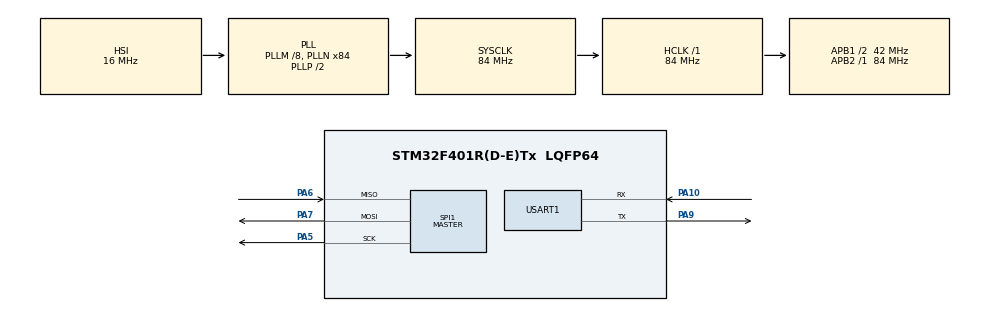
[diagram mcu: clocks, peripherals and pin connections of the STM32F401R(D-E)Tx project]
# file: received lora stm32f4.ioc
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Mcu.Family=STM32F4
Mcu.Name=STM32F401R(D-E)Tx
Mcu.Package=LQFP64
NVIC.PriorityGroup=NVIC_PRIORITYGROUP_4
PA10.Mode=Asynchronous
PA10.Signal=USART1_RX
PA5.Mode=Full_Duplex_Master
PA5.Signal=SPI1_SCK
PA6.Mode=Full_Duplex_Master
PA6.Signal=SPI1_MISO
PA7.Mode=Full_Duplex_Master
PA7.Signal=SPI1_MOSI
PA9.Mode=Asynchronous
PA9.Signal=USART1_TX
PH0\ -\ OSC_IN.Mode=HSE-External-Oscillator
PH0\ -\ OSC_IN.Signal=RCC_OSC_IN
PH1\ -\ OSC_OUT.Mode=HSE-External-Oscillator
PH1\ -\ OSC_OUT.Signal=RCC_OSC_OUT
ProjectManager.HeapSize=0x200
ProjectManager.StackSize=0x400
ProjectManager.TargetToolchain=STM32CubeIDE
RCC.48MHZClocksFreq_Value=42000000
RCC.AHBFreq_Value=84000000
RCC.APB1CLKDivider=RCC_HCLK_DIV2
RCC.APB1Freq_Value=42000000
RCC.APB1TimFreq_Value=84000000
RCC.APB2Freq_Value=84000000
RCC.APB2TimFreq_Value=84000000
RCC.CortexFreq_Value=84000000
RCC.HCLKFreq_Value=84000000
RCC.HSE_VALUE=25000000
RCC.HSI_VALUE=16000000
RCC.LSE_VALUE=32768
RCC.PLLM=8
RCC.PLLN=84
RCC.SYSCLKFreq_VALUE=84000000
RCC.SYSCLKSource=RCC_SYSCLKSOURCE_PLLCLK
RCC.VCOOutputFreq_Value=168000000
SPI1.Direction=SPI_DIRECTION_2LINES
SPI1.Mode=SPI_MODE_MASTER
SPI1.VirtualType=VM_MASTER
USART1.VirtualMode=VM_ASYNC
board=custom

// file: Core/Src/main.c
/* USER CODE BEGIN Header */
/**
  ******************************************************************************
  * @file           : main.c
  * @brief          : Main program body
  ******************************************************************************
  * @attention
  *
  * Copyright (c) 2024 STMicroelectronics.
  * All rights reserved.
  *
  * This software is licensed under terms that can be found in the LICENSE file
  * in the root directory of this software component.
  * If no LICENSE file comes with this software, it is provided AS-IS.
  *
  ******************************************************************************
  */
/* USER CODE END Header */
#include "main.h"

/* USER CODE BEGIN Includes */
#include <stdio.h>
#include "sx1278.hpp"
#include "gpio.h"
#include "spi.h"

/* USER CODE END Includes */

SPI_HandleTypeDef hspi1;

UART_HandleTypeDef huart1;

void SystemClock_Config(void);
static void MX_GPIO_Init(void);
static void MX_SPI1_Init(void);
static void MX_USART1_UART_Init(void);
/* USER CODE BEGIN PFP */
#define PUTCHAR_PROTOTYPE int __io_putchar(int ch)
/* USER CODE END PFP */

/* USER CODE BEGIN 0 */
SX1278_hw_t SX1278_hw;
SX1278_t SX1278;

int master;
int ret;

char buffer[512];

int message;
int message_length;
/* USER CODE END 0 */

int main(void)
{

  /* MCU Configuration--------------------------------------------------------*/

  /* Reset of all peripherals, Initializes the Flash interface and the Systick. */
  HAL_Init();

  /* Configure the system clock */
  SystemClock_Config();

  /* Initialize all configured peripherals */
  MX_GPIO_Init();
  MX_SPI1_Init();
  MX_USART1_UART_Init();
  /* USER CODE BEGIN 2 */
  init_gpio();
  init_spi1();
  printf("Mode: Slave\r\n");
  //initialize LoRa module
  SX1278_hw.dio0.port = DIO0_GPIO_Port;
  SX1278_hw.dio0.pin = DIO0_Pin;
  SX1278_hw.nss.port = NSS_GPIO_Port;
  SX1278_hw.nss.pin = NSS_Pin;
  SX1278_hw.reset.port = RESET_GPIO_Port;
  SX1278_hw.reset.pin = RESET_Pin;
  SX1278_hw.spi = &hspi1;

  SX1278.hw = &SX1278_hw;

  printf("Configuring LoRa module\r\n");
  SX1278_init(&SX1278, 434000000, SX1278_POWER_17DBM, SX1278_LORA_SF_7,
  		  	  SX1278_LORA_BW_125KHZ, SX1278_LORA_CR_4_5, SX1278_LORA_CRC_EN, 10);
  printf("Done configuring LoRaModule\r\n");
  ret = SX1278_LoRaEntryRx(&SX1278, 16, 2000);
  /* USER CODE END 2 */

  /* Infinite loop */
  /* USER CODE BEGIN WHILE */
  while (1)
  {
	  printf("Slave ...\r\n");
	  HAL_Delay(800);
	  printf("Receiving package...\r\n");

	  ret = SX1278_LoRaRxPacket(&SX1278);
	  printf("Received: %d\r\n", ret);
	  if (ret > 0) {
	  	 SX1278_read(&SX1278, (uint8_t*) buffer, ret);
	  	 printf("Content (%d): %s\r\n", ret, buffer);
	  }
	  printf("Package received ...\r\n");
    /* USER CODE END WHILE */

  }
}

void SystemClock_Config(void)
{
  RCC_OscInitTypeDef RCC_OscInitStruct = {0};
  RCC_ClkInitTypeDef RCC_ClkInitStruct = {0};

  /** Configure the main internal regulator output voltage
  */
  __HAL_RCC_PWR_CLK_ENABLE();
  __HAL_PWR_VOLTAGESCALING_CONFIG(PWR_REGULATOR_VOLTAGE_SCALE2);

  /** Initializes the RCC Oscillators according to the specified parameters
  * in the RCC_OscInitTypeDef structure.
  */
  RCC_OscInitStruct.OscillatorType = RCC_OSCILLATORTYPE_HSI;
  RCC_OscInitStruct.HSIState = RCC_HSI_ON;
  RCC_OscInitStruct.HSICalibrationValue = RCC_HSICALIBRATION_DEFAULT;
  RCC_OscInitStruct.PLL.PLLState = RCC_PLL_ON;
  RCC_OscInitStruct.PLL.PLLSource = RCC_PLLSOURCE_HSI;
  RCC_OscInitStruct.PLL.PLLM = 8;
  RCC_OscInitStruct.PLL.PLLN = 84;
  RCC_OscInitStruct.PLL.PLLP = RCC_PLLP_DIV2;
  RCC_OscInitStruct.PLL.PLLQ = 4;
  if (HAL_RCC_OscConfig(&RCC_OscInitStruct) != HAL_OK)
  {
    Error_Handler();
  }

  /** Initializes the CPU, AHB and APB buses clocks
  */
  RCC_ClkInitStruct.ClockType = RCC_CLOCKTYPE_HCLK|RCC_CLOCKTYPE_SYSCLK
                              |RCC_CLOCKTYPE_PCLK1|RCC_CLOCKTYPE_PCLK2;
  RCC_ClkInitStruct.SYSCLKSource = RCC_SYSCLKSOURCE_PLLCLK;
  RCC_ClkInitStruct.AHBCLKDivider = RCC_SYSCLK_DIV1;
  RCC_ClkInitStruct.APB1CLKDivider = RCC_HCLK_DIV2;
  RCC_ClkInitStruct.APB2CLKDivider = RCC_HCLK_DIV1;

  if (HAL_RCC_ClockConfig(&RCC_ClkInitStruct, FLASH_LATENCY_2) != HAL_OK)
  {
    Error_Handler();
  }
}

static void MX_SPI1_Init(void)
{

  /* SPI1 parameter configuration*/
  hspi1.Instance = SPI1;
  hspi1.Init.Mode = SPI_MODE_MASTER;
  hspi1.Init.Direction = SPI_DIRECTION_2LINES;
  hspi1.Init.DataSize = SPI_DATASIZE_8BIT;
  hspi1.Init.CLKPolarity = SPI_POLARITY_LOW;
  hspi1.Init.CLKPhase = SPI_PHASE_1EDGE;
  hspi1.Init.NSS = SPI_NSS_SOFT;
  hspi1.Init.BaudRatePrescaler = SPI_BAUDRATEPRESCALER_2;
  hspi1.Init.FirstBit = SPI_FIRSTBIT_MSB;
  hspi1.Init.TIMode = SPI_TIMODE_DISABLE;
  hspi1.Init.CRCCalculation = SPI_CRCCALCULATION_DISABLE;
  hspi1.Init.CRCPolynomial = 10;
  if (HAL_SPI_Init(&hspi1) != HAL_OK)
  {
    Error_Handler();
  }

}

static void MX_USART1_UART_Init(void)
{

  huart1.Instance = USART1;
  huart1.Init.BaudRate = 115200;
  huart1.Init.WordLength = UART_WORDLENGTH_8B;
  huart1.Init.StopBits = UART_STOPBITS_1;
  huart1.Init.Parity = UART_PARITY_NONE;
  huart1.Init.Mode = UART_MODE_TX_RX;
  huart1.Init.HwFlowCtl = UART_HWCONTROL_NONE;
  huart1.Init.OverSampling = UART_OVERSAMPLING_16;
  if (HAL_UART_Init(&huart1) != HAL_OK)
  {
    Error_Handler();
  }

}

static void MX_GPIO_Init(void)
{

  /* GPIO Ports Clock Enable */
  __HAL_RCC_GPIOH_CLK_ENABLE();
  __HAL_RCC_GPIOA_CLK_ENABLE();
  __HAL_RCC_GPIOC_CLK_ENABLE();

}

/* USER CODE BEGIN 4 */
PUTCHAR_PROTOTYPE
{
  /* Place your implementation of fputc here */
  /* e.g. write a character to the USART1 and Loop until the end of transmission */
  HAL_UART_Transmit(&huart1, (uint8_t *)&ch, 1, 0xFFFF);

  return ch;
}
/* USER CODE END 4 */

void Error_Handler(void)
{
  __disable_irq();
  while (1)
  {
  }
}
